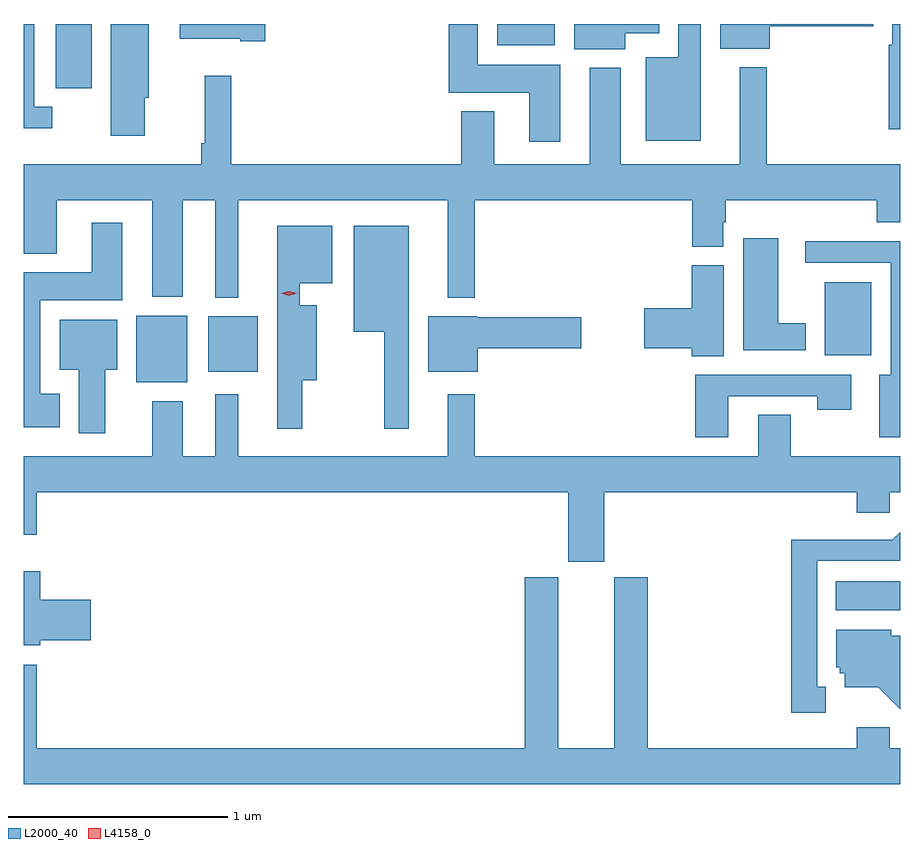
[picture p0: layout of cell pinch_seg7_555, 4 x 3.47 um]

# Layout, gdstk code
import gdstk
lib = gdstk.Library(unit=1e-6, precision=1e-09)
def R(c, l, rs):  # rectangles x0, y0, x1, y1
    for r in rs: c.add(gdstk.rectangle(r[:2], r[2:], *l))
def P(c, l, *ps):  # polygons
    for p in ps: c.add(gdstk.Polygon(p, *l))
L2000_40 = (2000, 40)
L4158_0 = (4158, 0)

pinch_seg7_555 = lib.new_cell('pinch_seg7_555')
R(pinch_seg7_555, L2000_40, [(135.593,1056.02,135.887,1056.154), (132.401,1057.061,132.634,1057.366), (132.728,1057.109,132.955,1057.363), (135.542,1057.184,135.754,1057.519), (132.032,1058.403,132.196,1058.697), (134.048,1058.6,134.311,1058.697)])
P(pinch_seg7_555, L2000_40, [(134.335,1058.512),(133.96,1058.512),(133.96,1058.697),(133.826,1058.697),(133.826,1058.384),(134.195,1058.384),(134.195,1058.16),(134.335,1058.16)],
  [(135.887,1058.697),(135.851,1058.697),(135.851,1058.603),(135.834,1058.603),(135.834,1058.217),(135.887,1058.217)],
  [(134.977,1058.697),(134.873,1058.697),(134.873,1058.545),(134.726,1058.545),(134.726,1058.165),(134.977,1058.165)],
  [(135.292,1058.687),(135.763,1058.687),(135.763,1058.697),(135.065,1058.697),(135.065,1058.585),(135.292,1058.585)],
  [(132.439,1058.361),(132.457,1058.361),(132.457,1058.697),(132.284,1058.697),(132.284,1058.187),(132.439,1058.187)],
  [(132.016,1058.319),(131.934,1058.319),(131.934,1058.697),(131.887,1058.697),(131.887,1058.222),(132.016,1058.222)],
  [(132.988,1058.697),(132.599,1058.697),(132.599,1058.63),(132.875,1058.63),(132.875,1058.618),(132.988,1058.618)],
  [(134.632,1058.654),(134.788,1058.654),(134.788,1058.697),(134.399,1058.697),(134.399,1058.582),(134.632,1058.582)],
  [(132.833,1058.461),(132.712,1058.461),(132.712,1058.152),(132.697,1058.152),(132.697,1058.056),(131.887,1058.056),(131.887,1057.649),(132.037,1057.649),(132.037,1057.892),(132.473,1057.892),(132.473,1057.451),(132.613,1057.451),(132.613,1057.892),(132.761,1057.892),(132.761,1057.448),(132.865,1057.448),(132.865,1057.892),(133.823,1057.892),(133.823,1057.448),(133.945,1057.448),(133.945,1057.892),(134.939,1057.892),(134.939,1057.681),(135.079,1057.681),(135.079,1057.791),(135.092,1057.791),(135.092,1057.892),(135.779,1057.892),(135.779,1057.793),(135.887,1057.793),(135.887,1058.056),(135.277,1058.056),(135.277,1058.5),(135.155,1058.5),(135.155,1058.056),(134.611,1058.056),(134.611,1058.497),(134.471,1058.497),(134.471,1058.056),(134.035,1058.056),(134.035,1058.299),(133.883,1058.299),(133.883,1058.056),(132.833,1058.056)],
  [(132.052,1057.009),(131.962,1057.009),(131.962,1057.436),(132.337,1057.436),(132.337,1057.789),(132.197,1057.789),(132.197,1057.564),(131.887,1057.564),(131.887,1056.857),(132.052,1056.857)],
  [(133.157,1057.07),(133.225,1057.07),(133.225,1057.414),(133.147,1057.414),(133.147,1057.514),(133.294,1057.514),(133.294,1057.777),(133.043,1057.777),(133.043,1056.849),(133.157,1056.849)],
  [(133.645,1057.777),(133.394,1057.777),(133.394,1057.292),(133.531,1057.292),(133.531,1056.849),(133.645,1056.849)],
  [(135.457,1057.33),(135.331,1057.33),(135.331,1057.72),(135.17,1057.72),(135.17,1057.208),(135.457,1057.208)],
  [(135.887,1057.706),(135.453,1057.706),(135.453,1057.608),(135.845,1057.608),(135.845,1057.096),(135.791,1057.096),(135.791,1056.81),(135.887,1056.81)],
  [(135.082,1057.596),(134.936,1057.596),(134.936,1057.4),(134.718,1057.4),(134.718,1057.217),(134.936,1057.217),(134.936,1057.18),(135.082,1057.18)],
  [(133.96,1057.216),(134.431,1057.216),(134.431,1057.358),(133.956,1057.358),(133.956,1057.363),(133.733,1057.363),(133.733,1057.109),(133.96,1057.109)],
  [(132.259,1057.118),(132.313,1057.118),(132.313,1057.348),(132.05,1057.348),(132.05,1057.118),(132.137,1057.118),(132.137,1056.828),(132.259,1056.828)],
  [(135.103,1056.999),(135.508,1056.999),(135.508,1056.936),(135.664,1056.936),(135.664,1057.095),(134.951,1057.095),(134.951,1056.81),(135.103,1056.81)],
  [(134.536,1056.56),(135.689,1056.56),(135.689,1056.467),(135.84,1056.467),(135.84,1056.56),(135.887,1056.56),(135.887,1056.724),(135.387,1056.724),(135.387,1056.914),(135.239,1056.914),(135.239,1056.724),(133.945,1056.724),(133.945,1057.006),(133.823,1057.006),(133.823,1056.724),(132.865,1056.724),(132.865,1057.006),(132.761,1057.006),(132.761,1056.724),(132.613,1056.724),(132.613,1056.976),(132.473,1056.976),(132.473,1056.724),(131.887,1056.724),(131.887,1056.366),(131.945,1056.366),(131.945,1056.56),(134.372,1056.56),(134.372,1056.243),(134.536,1056.243)],
  [(135.547,1055.673),(135.508,1055.673),(135.508,1056.246),(135.885,1056.246),(135.887,1056.248),(135.887,1056.377),(135.852,1056.342),(135.63,1056.342),(135.63,1056.344),(135.39,1056.344),(135.39,1055.553),(135.547,1055.553)],
  [(131.962,1055.885),(132.193,1055.885),(132.193,1056.068),(131.962,1056.068),(131.962,1056.199),(131.887,1056.199),(131.887,1055.861),(131.962,1055.861)],
  [(135.887,1055.392),(135.84,1055.392),(135.84,1055.488),(135.689,1055.488),(135.689,1055.392),(134.735,1055.392),(134.735,1056.171),(134.582,1056.171),(134.582,1055.392),(134.326,1055.392),(134.326,1056.171),(134.174,1056.171),(134.174,1055.392),(131.945,1055.392),(131.945,1055.773),(131.887,1055.773),(131.887,1055.228),(135.887,1055.228)],
  [(135.887,1055.905),(135.846,1055.905),(135.846,1055.932),(135.596,1055.932),(135.596,1055.76),(135.612,1055.76),(135.612,1055.733),(135.635,1055.733),(135.635,1055.669),(135.787,1055.669),(135.887,1055.57)])
P(pinch_seg7_555, L4158_0, [(133.097,1057.457),(133.062,1057.467),(133.062,1057.468),(133.062,1057.468),(133.098,1057.477),(133.133,1057.467),(133.133,1057.467),(133.133,1057.467)])

lib.write_gds('pinch_seg7_555.gds')
